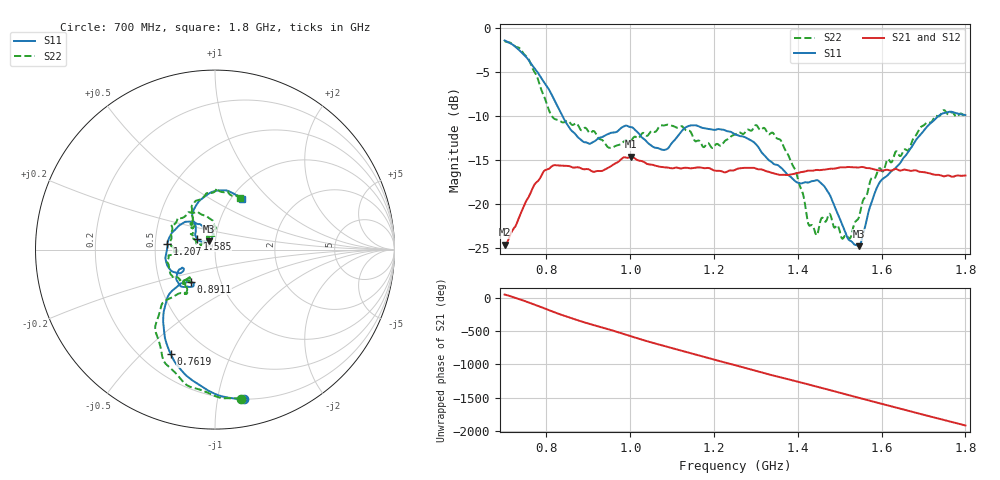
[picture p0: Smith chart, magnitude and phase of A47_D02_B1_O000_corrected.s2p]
! Created with skrf 1.9.0 (http://scikit-rf.org).
# Hz S RI R 50.0
!freq ReS11 ImS11 ReS21 ImS21 ReS12 ImS12 ReS22 ImS22
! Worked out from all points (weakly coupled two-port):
!   1601 points, 700 MHz to 1.8 GHz, reference 50 ohm
!   highest |S21| = -14.61 dB at 1.002 GHz (marker M1); lowest = -24.6 dB at 700.7 MHz (marker M2)
!   lowest |S11| = -24.7 dB at 1.545 GHz (marker M3), VSWR 1.12, Z = 46.4 + j4.29 ohm
!   |S11| at or under -10 dB: 838.4 MHz to 1.735 GHz (896.6 MHz wide, 69.7 % of centre)
!   |S22| runs from -23.9 to -1.5 dB; largest |S21 - S12| = 0.0034
!   S11 on the Smith chart (normalised r, x): 700 MHz: 0.20, -1.19; 761.9 MHz: 0.32, -0.62; 891.1 MHz: 0.72, -0.27; 1.207 GHz: 0.58, +0.04; 1.585 GHz: 0.81, +0.10; 1.8 GHz: 1.12, +0.71
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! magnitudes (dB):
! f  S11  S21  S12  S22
! 700 MHz  -1.4  -24.6  -24.3  -1.5
! 700.7 MHz  -1.4  -24.6  -24.3  -1.5
! 761.9 MHz  -4.0  -18.7  -18.7  -4.0
! 814.1 MHz  -7.7  -15.6  -15.7  -10.1
! 883.6 MHz  -12.7  -15.9  -15.8  -11.6
! 891.1 MHz  -13.0  -16.0  -16.0  -11.3
! 950.2 MHz  -11.9  -15.8  -15.8  -13.6
! 1.002 GHz  -11.2  -14.6  -14.7  -12.8
! 1.067 GHz  -13.6  -15.7  -15.6  -11.3
! 1.14 GHz  -11.1  -15.9  -15.9  -11.6
! 1.207 GHz  -11.5  -16.2  -16.2  -13.1
! 1.25 GHz  -12.1  -16.1  -16.0  -12.1
! 1.3 GHz  -13.2  -15.9  -15.9  -11.0
! 1.359 GHz  -15.8  -16.7  -16.6  -12.7
! 1.434 GHz  -17.4  -16.2  -16.2  -22.4
! 1.476 GHz  -18.9  -16.0  -16.0  -21.1
! 1.522 GHz  -24.1  -15.8  -15.8  -23.9
! 1.545 GHz  -24.7  -15.8  -15.8  -21.6
! 1.585 GHz  -18.6  -16.1  -16.1  -17.0
! 1.617 GHz  -16.6  -16.1  -16.1  -14.9
! 1.737 GHz  -9.9  -16.7  -16.7  -10.0
! 1.8 GHz  -9.9  -16.7  -16.7  -10.0
